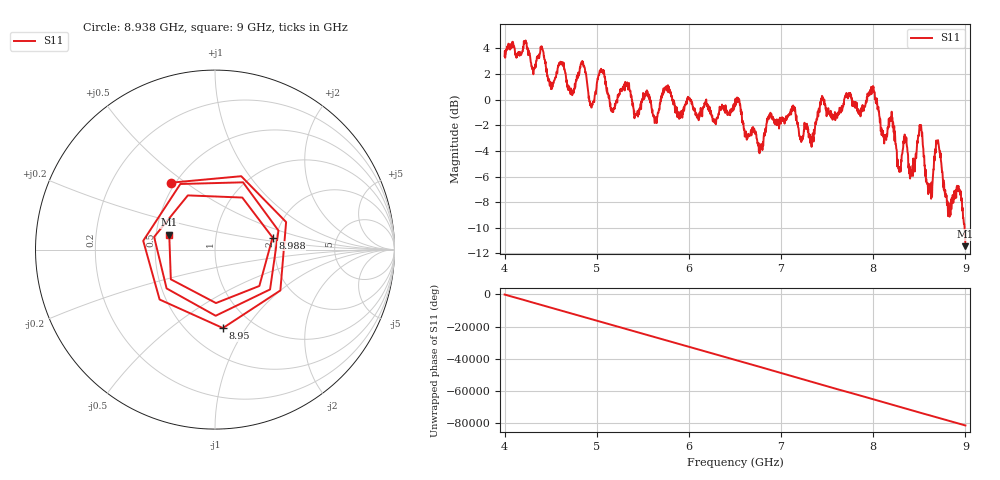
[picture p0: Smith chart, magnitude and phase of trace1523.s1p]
! Created with skrf 1.8.0 (http://scikit-rf.org).
# Hz S RI R 50.0
!freq ReS11 ImS11
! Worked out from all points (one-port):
!   1601 points, 4 GHz to 9 GHz, reference 50 ohm
!   lowest |S11| = -11.4 dB at 9 GHz (marker M1), VSWR 1.73, Z = 29.3 + j5.28 ohm
!   |S11| at or under -10 dB: 8.991447 GHz to end of sweep
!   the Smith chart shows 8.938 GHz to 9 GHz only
!   S11 on the Smith chart (normalised r, x): 8.938 GHz: 0.47, +0.44; 8.95 GHz: 0.73, -0.79; 8.988 GHz: 1.92, +0.29; 9 GHz: 0.59, +0.11
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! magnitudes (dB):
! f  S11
! 4 GHz  3.4
! 4.625 GHz  2.7
! 4.728 GHz  0.5
! 4.85 GHz  2.9
! 4.944 GHz  -0.6
! 5.053 GHz  2.2
! 5.169 GHz  -1.0
! 5.25 GHz  0.5
! 5.875 GHz  -1.4
! 6.5 GHz  -0.5
! 6.775 GHz  -3.6
! 7.125 GHz  -0.8
! 7.328 GHz  -3.4
! 7.444 GHz  0.3
! 7.75 GHz  0.5
! 7.991 GHz  1.0
! 8.106 GHz  -2.4
! 8.203 GHz  -1.6
! 8.281 GHz  -5.6
! 8.375 GHz  -4.2
! 8.509 GHz  -2.0
! 8.603 GHz  -7.1
! 8.694 GHz  -3.3
! 8.812 GHz  -9.1
! 8.938 GHz  -7.0
! 8.95 GHz  -7.1
! 8.988 GHz  -9.7
! 9 GHz  -11.4
